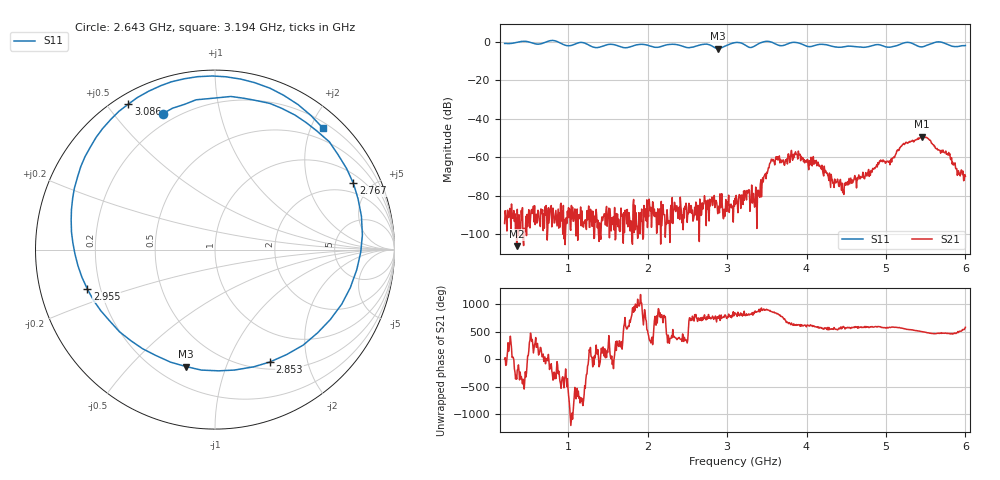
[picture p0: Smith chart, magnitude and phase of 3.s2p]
! NanoVNA-App by OneOfEleven et al v1.1.209 (+OD15)
! Date: 2024-07-30 15:11:31
! Start: 200MHz Stop: 6GHz Points: 801
! S-Parameter data: F S11 S21 S12 S22
# Hz S RI R 50
!  Frequency  S11_Real  S11_Imag  S21_Real  S21_Imag  S12_Real  S12_Imag  S22_Real  S22_Imag
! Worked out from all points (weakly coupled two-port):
!   801 points, 200 MHz to 6 GHz, reference 50 ohm
!   highest |S21| = -49.38 dB at 5.456 GHz (marker M1); lowest = -106.3 dB at 352.2 MHz (marker M2)
!   lowest |S11| = -3.5 dB at 2.89 GHz (marker M3), VSWR 5.09, Z = 15.5 - j36.7 ohm
!   |S11| at or under -10 dB: nowhere
!   S12 and S22 are empty: the file has one direction only
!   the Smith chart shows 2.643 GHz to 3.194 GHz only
!   S11 on the Smith chart (normalised r, x): 2.643 GHz: 0.15, +0.68; 2.767 GHz: 1.43, +3.91; 2.853 GHz: 0.59, -1.44; 2.955 GHz: 0.15, -0.15; 3.086 GHz: 0.04, +0.57; 3.194 GHz: 0.29, +2.19
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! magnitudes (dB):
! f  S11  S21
! 200 MHz  -0.8  -94.5
! 352.2 MHz  -0.3  -106.3
! 1.171 GHz  -0.3  -87.9
! 2.136 GHz  -2.8  -92.5
! 2.643 GHz  -1.8  -90.1
! 2.767 GHz  -1.4  -86.7
! 2.853 GHz  -3.1  -83.7
! 2.89 GHz  -3.5  -87.0
! 2.955 GHz  -2.6  -92.1
! 3.086 GHz  -0.5  -82.7
! 3.1 GHz  -0.4  -81.3
! 3.194 GHz  -0.9  -80.4
! 3.405 GHz  -0.8  -77.8
! 3.564 GHz  -0.2  -61.2
! 3.876 GHz  -0.3  -58.5
! 4.072 GHz  -2.3  -64.5
! 4.47 GHz  -2.5  -79.4
! 5.036 GHz  -2.8  -62.7
! 5.224 GHz  -0.5  -52.8
! 5.456 GHz  -2.6  -49.4
! 5.775 GHz  -1.4  -58.3
! 6 GHz  -1.9  -69.9
